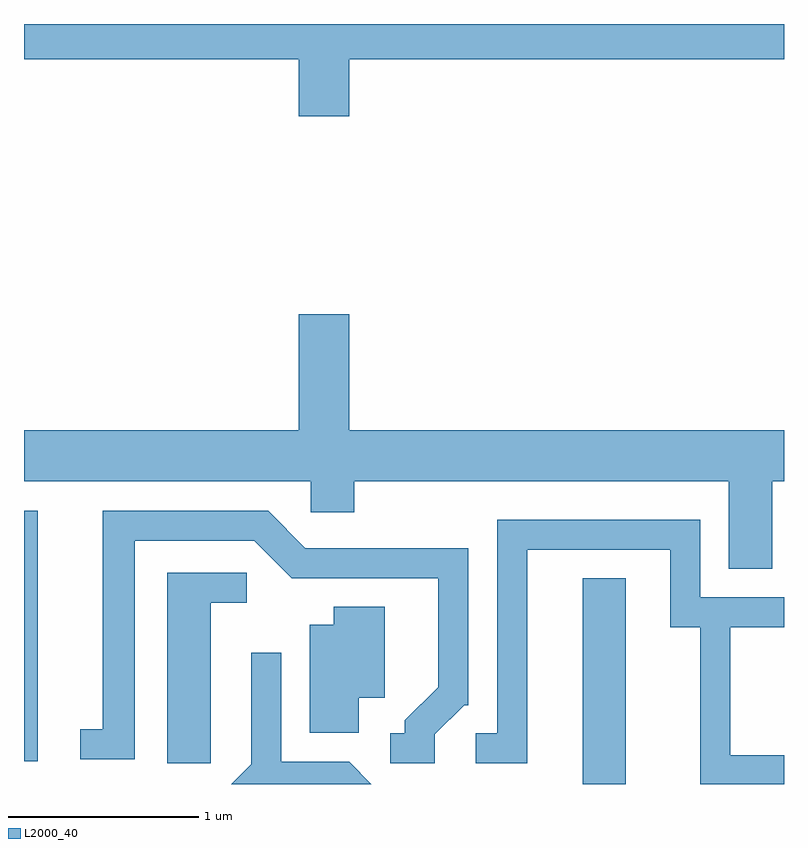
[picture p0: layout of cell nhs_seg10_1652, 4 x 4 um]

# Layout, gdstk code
import gdstk
lib = gdstk.Library(unit=1e-6, precision=1e-09)
def R(c, l, rs):  # rectangles x0, y0, x1, y1
    for r in rs: c.add(gdstk.rectangle(r[:2], r[2:], *l))
def P(c, l, *ps):  # polygons
    for p in ps: c.add(gdstk.Polygon(p, *l))
L2000_40 = (2000, 40)

nhs_seg10_1652 = lib.new_cell('nhs_seg10_1652')
R(nhs_seg10_1652, L2000_40, [(236.551,2134.522,236.779,2135.604), (233.611,2134.641,233.684,2135.959)])
P(nhs_seg10_1652, L2000_40, [(233.611,2138.336),(235.056,2138.336),(235.056,2138.036),(235.324,2138.036),(235.324,2138.336),(237.611,2138.336),(237.611,2138.522),(233.611,2138.522)],
  [(235.324,2136.994),(235.056,2136.994),(235.056,2136.384),(233.611,2136.384),(233.611,2136.116),(235.121,2136.116),(235.121,2135.951),(235.349,2135.951),(235.349,2136.116),(237.321,2136.116),(237.321,2135.656),(237.549,2135.656),(237.549,2136.116),(237.611,2136.116),(237.611,2136.384),(235.324,2136.384)],
  [(235.774,2134.784),(235.927,2134.936),(235.949,2134.936),(235.949,2135.764),(235.092,2135.764),(234.897,2135.959),(234.026,2135.959),(234.026,2134.809),(233.908,2134.809),(233.908,2134.651),(234.194,2134.651),(234.194,2135.801),(234.824,2135.801),(235.019,2135.606),(235.791,2135.606),(235.791,2135.032),(235.616,2134.857),(235.616,2134.789),(235.538,2134.789),(235.538,2134.631),(235.774,2134.631)],
  [(237.611,2134.674),(237.329,2134.674),(237.329,2135.346),(237.611,2135.346),(237.611,2135.504),(237.169,2135.504),(237.169,2135.914),(236.101,2135.914),(236.101,2134.789),(235.988,2134.789),(235.988,2134.631),(236.259,2134.631),(236.259,2135.756),(237.011,2135.756),(237.011,2135.346),(237.171,2135.346),(237.171,2134.522),(237.611,2134.522)],
  [(234.594,2135.476),(234.783,2135.476),(234.783,2135.634),(234.366,2135.634),(234.366,2134.631),(234.594,2134.631)],
  [(235.374,2134.976),(235.509,2134.976),(235.509,2135.454),(235.241,2135.454),(235.241,2135.359),(235.116,2135.359),(235.116,2134.791),(235.374,2134.791)],
  [(235.322,2134.639),(234.964,2134.639),(234.964,2135.213),(234.806,2135.213),(234.806,2134.627),(234.702,2134.522),(235.439,2134.522)])

lib.write_gds('nhs_seg10_1652.gds')
